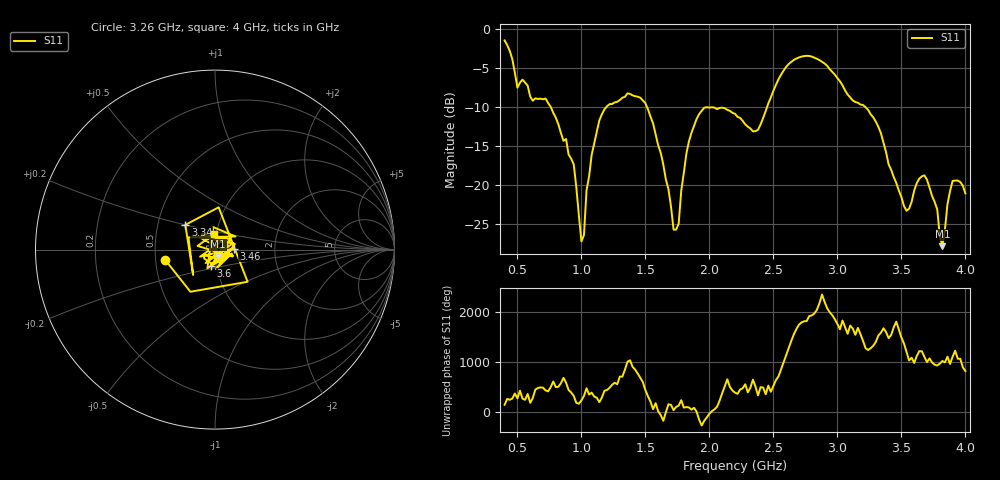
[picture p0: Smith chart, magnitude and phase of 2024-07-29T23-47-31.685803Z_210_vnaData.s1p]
!Created with skrf (http://scikit-rf.org).
# Hz S RI R 50.0
!freq ReS11 ImS11
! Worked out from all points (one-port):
!   181 points, 400 MHz to 4 GHz, reference 50 ohm
!   lowest |S11| = -27.8 dB at 3.82 GHz (marker M1), VSWR 1.08, Z = 51.6 - j3.82 ohm
!   |S11| at or under -10 dB: 761 MHz to 1.195 GHz (433.7 MHz wide, 44.3 % of centre); 1.512 GHz to 2.45 GHz (938 MHz wide, 47.3 % of centre); 3.219 GHz to end of sweep
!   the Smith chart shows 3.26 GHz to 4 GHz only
!   S11 on the Smith chart (normalised r, x): 3.26 GHz: 0.56, -0.07; 3.34 GHz: 0.69, +0.20; 3.46 GHz: 1.23, +0.01; 3.6 GHz: 0.94, -0.17; 4 GHz: 0.98, +0.17
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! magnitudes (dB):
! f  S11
! 400 MHz  -1.5
! 500 MHz  -7.5
! 720 MHz  -8.9
! 860 MHz  -14.3
! 940 MHz  -17.3
! 1 GHz  -27.2
! 1.08 GHz  -16.1
! 1.14 GHz  -11.7
! 1.3 GHz  -9.1
! 1.5 GHz  -9.5
! 1.62 GHz  -15.9
! 1.72 GHz  -25.7
! 1.76 GHz  -24.9
! 1.82 GHz  -16.0
! 1.9 GHz  -11.5
! 2.2 GHz  -10.9
! 2.38 GHz  -12.9
! 2.66 GHz  -4.0
! 3.1 GHz  -8.8
! 3.26 GHz  -10.9
! 3.34 GHz  -13.3
! 3.46 GHz  -19.7
! 3.56 GHz  -23.0
! 3.6 GHz  -20.7
! 3.7 GHz  -19.3
! 3.82 GHz  -27.8
! 3.9 GHz  -19.5
! 4 GHz  -21.1
